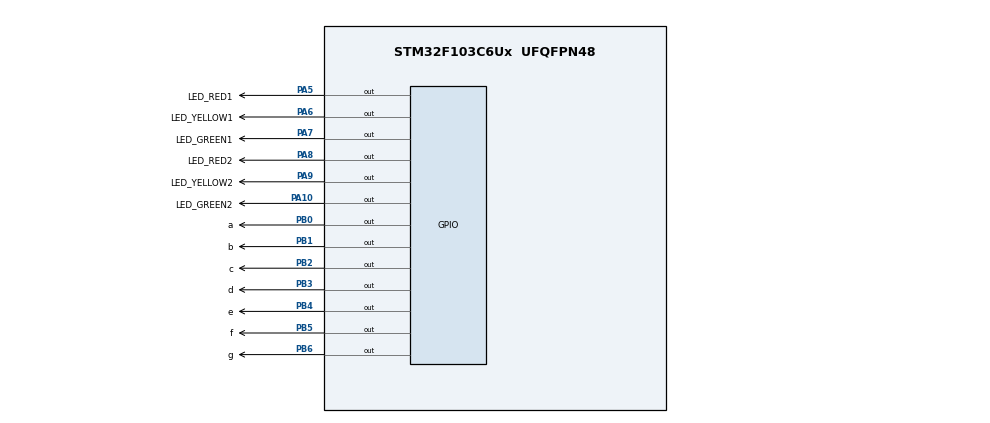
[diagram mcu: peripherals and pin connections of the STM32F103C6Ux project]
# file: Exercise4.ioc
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Mcu.Family=STM32F1
Mcu.Name=STM32F103C6Ux
Mcu.Package=UFQFPN48
NVIC.PriorityGroup=NVIC_PRIORITYGROUP_4
PA10.GPIO_Label=LED_GREEN2
PA10.Signal=GPIO_Output
PA5.GPIO_Label=LED_RED1
PA5.Signal=GPIO_Output
PA6.GPIO_Label=LED_YELLOW1
PA6.Signal=GPIO_Output
PA7.GPIO_Label=LED_GREEN1
PA7.Signal=GPIO_Output
PA8.GPIO_Label=LED_RED2
PA8.Signal=GPIO_Output
PA9.GPIO_Label=LED_YELLOW2
PA9.Signal=GPIO_Output
PB0.GPIO_Label=a
PB0.Signal=GPIO_Output
PB1.GPIO_Label=b
PB1.Signal=GPIO_Output
PB2.GPIO_Label=c
PB2.Signal=GPIO_Output
PB3.GPIO_Label=d
PB3.Signal=GPIO_Output
PB4.GPIO_Label=e
PB4.Signal=GPIO_Output
PB5.GPIO_Label=f
PB5.Signal=GPIO_Output
PB6.GPIO_Label=g
PB6.Signal=GPIO_Output
ProjectManager.HeapSize=0x200
ProjectManager.StackSize=0x400
ProjectManager.TargetToolchain=STM32CubeIDE
RCC.APB1Freq_Value=8000000
RCC.APB2Freq_Value=8000000
VP_SYS_VS_ND.Mode=No_Debug
board=custom

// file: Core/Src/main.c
/* USER CODE BEGIN Header */
/**
  ******************************************************************************
  * @file           : main.c
  * @brief          : Main program body
  ******************************************************************************
  * @attention
  *
  * <h2><center>&copy; Copyright (c) 2022 STMicroelectronics.
  * All rights reserved.</center></h2>
  *
  * This software component is licensed by ST under BSD 3-Clause license,
  * the "License"; You may not use this file except in compliance with the
  * License. You may obtain a copy of the License at:
  *                        opensource.org/licenses/BSD-3-Clause
  *
  ******************************************************************************
  */
/* USER CODE END Header */
#include "main.h"

void SystemClock_Config(void);
static void MX_GPIO_Init(void);

void display7SEG(int num){
	switch(num){
	case 0:
		GPIOB->ODR = ~0x003F; //Displaying 0
		break;
	case 1:
		GPIOB->ODR = ~0x0006; //Displaying 1
		break;
	case 2:
		GPIOB->ODR = ~0x005B; //Displaying 2
		break;
	case 3:
		GPIOB->ODR = ~0x004F; //Displaying 3
		break;
	case 4:
		GPIOB->ODR = ~0x0066; //Displaying 4
		break;
	case 5:
		GPIOB->ODR = ~0x006D; //Displaying 5
		break;
	case 6:
		GPIOB->ODR = ~0x007D; //Displaying 6
		break;
	case 7:
		GPIOB->ODR = ~0x0007; //Displaying 7
		break;
	case 8:
		GPIOB->ODR = ~0x007F; //Displaying 8
		break;
	case 9:
		GPIOB->ODR = ~0x006F; //Displaying 9
		break;
	default:
		GPIOB->ODR = ~0x003F; //Displaying 0
		break;
	}
}
int main(void)
{

  /* MCU Configuration--------------------------------------------------------*/

  /* Reset of all peripherals, Initializes the Flash interface and the Systick. */
  HAL_Init();

  /* Configure the system clock */
  SystemClock_Config();

  /* Initialize all configured peripherals */
  MX_GPIO_Init();

  /* Infinite loop */
  /* USER CODE BEGIN WHILE */
  int counter = 0;
  int state = 0;
  HAL_GPIO_TogglePin(LED_RED1_GPIO_Port,LED_RED1_Pin);
  HAL_GPIO_TogglePin(LED_GREEN2_GPIO_Port,LED_GREEN2_Pin);
  while (1)
  {
	  if( counter >= 10) counter = 0;
	  display7SEG(counter++);

	  switch(state){
	    	  case 3:
	    		  HAL_GPIO_TogglePin(LED_GREEN2_GPIO_Port,LED_GREEN2_Pin);
	    	  	  HAL_GPIO_TogglePin(LED_YELLOW2_GPIO_Port,LED_YELLOW2_Pin);
	    	  	  state++;
	    	  	  break;
	    	  case 5:
	    		  HAL_GPIO_TogglePin(LED_YELLOW2_GPIO_Port,LED_YELLOW2_Pin);
	    		  HAL_GPIO_TogglePin(LED_RED2_GPIO_Port,LED_RED2_Pin);
	    		  HAL_GPIO_TogglePin(LED_RED1_GPIO_Port,LED_RED1_Pin);
	    		  HAL_GPIO_TogglePin(LED_GREEN1_GPIO_Port,LED_GREEN1_Pin);
	    		  state++;
	    		  break;
	    	  case 8:
	    		  HAL_GPIO_TogglePin(LED_GREEN1_GPIO_Port,LED_GREEN1_Pin);
	    		  HAL_GPIO_TogglePin(LED_YELLOW1_GPIO_Port,LED_YELLOW1_Pin);
	    		  state++;
	    		  break;
	    	  case 10:
	    		  HAL_GPIO_TogglePin(LED_YELLOW1_GPIO_Port,LED_YELLOW1_Pin);
	    		  HAL_GPIO_TogglePin(LED_RED1_GPIO_Port,LED_RED1_Pin);
	    		  HAL_GPIO_TogglePin(LED_RED2_GPIO_Port,LED_RED2_Pin);
	    		  HAL_GPIO_TogglePin(LED_GREEN2_GPIO_Port,LED_GREEN2_Pin);
	    		  state = 0;
	    		  break;
	    	  default:
	    		  state++;
	    	  }
	  HAL_Delay(1000) ;
    /* USER CODE END WHILE */

  }
}

void SystemClock_Config(void)
{
  RCC_OscInitTypeDef RCC_OscInitStruct = {0};
  RCC_ClkInitTypeDef RCC_ClkInitStruct = {0};

  /** Initializes the RCC Oscillators according to the specified parameters
  * in the RCC_OscInitTypeDef structure.
  */
  RCC_OscInitStruct.OscillatorType = RCC_OSCILLATORTYPE_HSI;
  RCC_OscInitStruct.HSIState = RCC_HSI_ON;
  RCC_OscInitStruct.HSICalibrationValue = RCC_HSICALIBRATION_DEFAULT;
  RCC_OscInitStruct.PLL.PLLState = RCC_PLL_NONE;
  if (HAL_RCC_OscConfig(&RCC_OscInitStruct) != HAL_OK)
  {
    Error_Handler();
  }
  /** Initializes the CPU, AHB and APB buses clocks
  */
  RCC_ClkInitStruct.ClockType = RCC_CLOCKTYPE_HCLK|RCC_CLOCKTYPE_SYSCLK
                              |RCC_CLOCKTYPE_PCLK1|RCC_CLOCKTYPE_PCLK2;
  RCC_ClkInitStruct.SYSCLKSource = RCC_SYSCLKSOURCE_HSI;
  RCC_ClkInitStruct.AHBCLKDivider = RCC_SYSCLK_DIV1;
  RCC_ClkInitStruct.APB1CLKDivider = RCC_HCLK_DIV1;
  RCC_ClkInitStruct.APB2CLKDivider = RCC_HCLK_DIV1;

  if (HAL_RCC_ClockConfig(&RCC_ClkInitStruct, FLASH_LATENCY_0) != HAL_OK)
  {
    Error_Handler();
  }
}

static void MX_GPIO_Init(void)
{
  GPIO_InitTypeDef GPIO_InitStruct = {0};

  /* GPIO Ports Clock Enable */
  __HAL_RCC_GPIOA_CLK_ENABLE();
  __HAL_RCC_GPIOB_CLK_ENABLE();

  /*Configure GPIO pin Output Level */
  HAL_GPIO_WritePin(GPIOA, LED_RED1_Pin|LED_YELLOW1_Pin|LED_GREEN1_Pin|LED_RED2_Pin
                          |LED_YELLOW2_Pin|LED_GREEN2_Pin, GPIO_PIN_RESET);

  /*Configure GPIO pin Output Level */
  HAL_GPIO_WritePin(GPIOB, a_Pin|b_Pin|c_Pin|d_Pin
                          |e_Pin|f_Pin|g_Pin, GPIO_PIN_RESET);

  /*Configure GPIO pins : LED_RED1_Pin LED_YELLOW1_Pin LED_GREEN1_Pin LED_RED2_Pin
                           LED_YELLOW2_Pin LED_GREEN2_Pin */
  GPIO_InitStruct.Pin = LED_RED1_Pin|LED_YELLOW1_Pin|LED_GREEN1_Pin|LED_RED2_Pin
                          |LED_YELLOW2_Pin|LED_GREEN2_Pin;
  GPIO_InitStruct.Mode = GPIO_MODE_OUTPUT_PP;
  GPIO_InitStruct.Pull = GPIO_NOPULL;
  GPIO_InitStruct.Speed = GPIO_SPEED_FREQ_LOW;
  HAL_GPIO_Init(GPIOA, &GPIO_InitStruct);

  /*Configure GPIO pins : a_Pin b_Pin c_Pin d_Pin
                           e_Pin f_Pin g_Pin */
  GPIO_InitStruct.Pin = a_Pin|b_Pin|c_Pin|d_Pin
                          |e_Pin|f_Pin|g_Pin;
  GPIO_InitStruct.Mode = GPIO_MODE_OUTPUT_PP;
  GPIO_InitStruct.Pull = GPIO_NOPULL;
  GPIO_InitStruct.Speed = GPIO_SPEED_FREQ_LOW;
  HAL_GPIO_Init(GPIOB, &GPIO_InitStruct);

}

void Error_Handler(void)
{
  __disable_irq();
  while (1)
  {
  }
}

/************************ (C) COPYRIGHT STMicroelectronics *****END OF FILE****/
